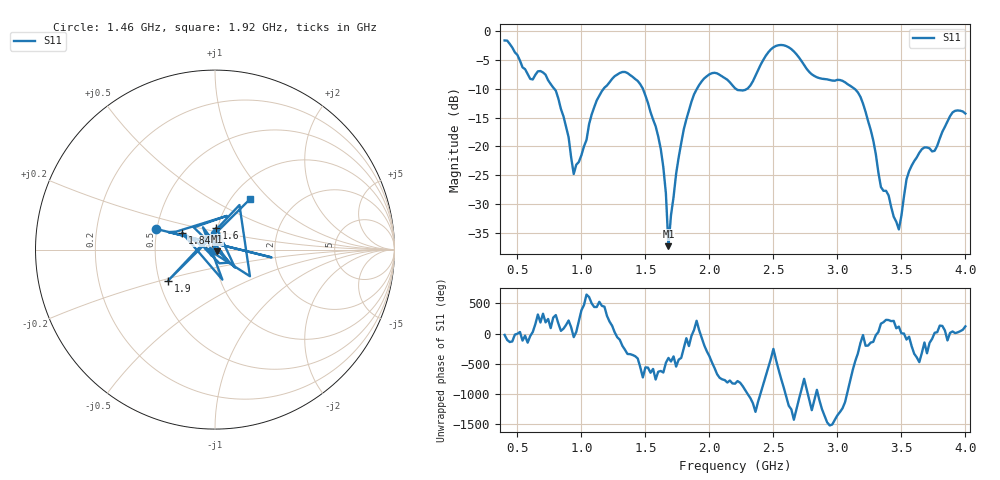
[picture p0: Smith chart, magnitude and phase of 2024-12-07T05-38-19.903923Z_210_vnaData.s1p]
!Created with skrf (http://scikit-rf.org).
# Hz S RI R 50.0
!freq ReS11 ImS11
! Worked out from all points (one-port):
!   181 points, 400 MHz to 4 GHz, reference 50 ohm
!   lowest |S11| = -37.3 dB at 1.68 GHz (marker M1), VSWR 1.03, Z = 51 - j0.96 ohm
!   |S11| at or under -10 dB: 788.7 MHz to 1.173 GHz (384.3 MHz wide, 39.2 % of centre); 1.481 GHz to 1.902 GHz (421.5 MHz wide, 24.9 % of centre); 3.134 GHz to end of sweep (the widest 3 of 4)
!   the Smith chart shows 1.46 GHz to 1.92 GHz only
!   S11 on the Smith chart (normalised r, x): 1.46 GHz: 0.50, +0.13; 1.6 GHz: 0.99, +0.24; 1.84 GHz: 0.68, +0.13; 1.9 GHz: 0.56, -0.21; 1.92 GHz: 1.21, +0.77
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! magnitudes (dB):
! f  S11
! 400 MHz  -1.6
! 600 MHz  -8.3
! 720 MHz  -7.5
! 860 MHz  -14.8
! 940 MHz  -24.8
! 1.12 GHz  -12.0
! 1.3 GHz  -7.2
! 1.46 GHz  -9.2
! 1.6 GHz  -18.3
! 1.66 GHz  -28.1
! 1.68 GHz  -37.3
! 1.76 GHz  -21.9
! 1.84 GHz  -13.8
! 1.9 GHz  -10.1
! 1.92 GHz  -9.3
! 2.04 GHz  -7.2
! 2.2 GHz  -9.9
! 2.3 GHz  -9.9
! 2.5 GHz  -2.8
! 2.66 GHz  -3.5
! 3.1 GHz  -9.5
! 3.2 GHz  -12.5
! 3.34 GHz  -27.1
! 3.48 GHz  -34.4
! 3.56 GHz  -24.3
! 3.76 GHz  -20.8
! 3.9 GHz  -14.1
! 4 GHz  -14.3
